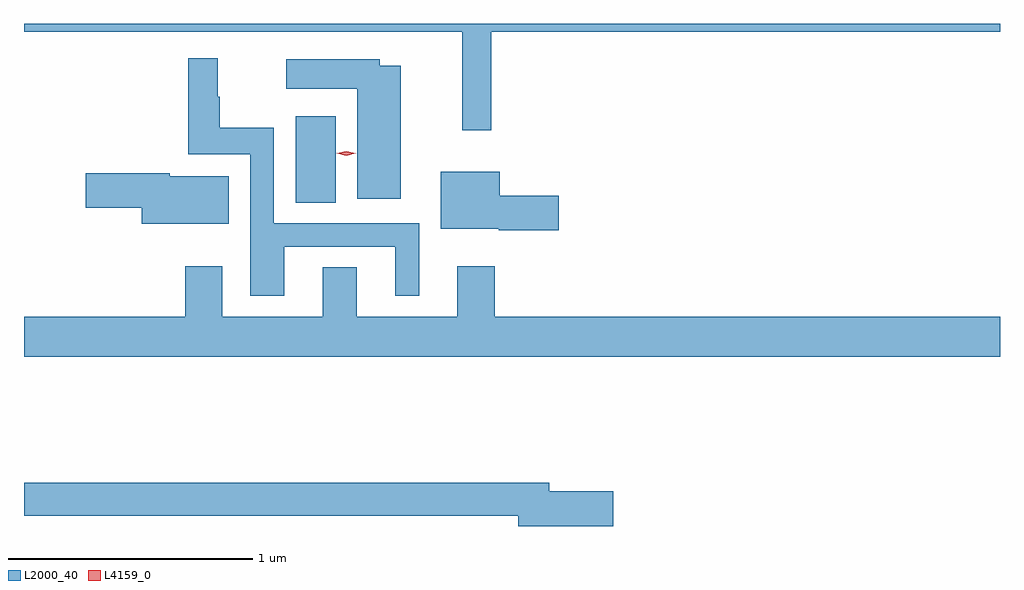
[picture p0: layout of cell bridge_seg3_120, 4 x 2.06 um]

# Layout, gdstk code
import gdstk
lib = gdstk.Library(unit=1e-6, precision=1e-09)
def R(c, l, rs):  # rectangles x0, y0, x1, y1
    for r in rs: c.add(gdstk.rectangle(r[:2], r[2:], *l))
def P(c, l, *ps):  # polygons
    for p in ps: c.add(gdstk.Polygon(p, *l))
L2000_40 = (2000, 40)
L4159_0 = (4159, 0)

bridge_seg3_120 = lib.new_cell('bridge_seg3_120')
R(bridge_seg3_120, L2000_40, [(190.85,748.168,191.014,748.522)])
P(bridge_seg3_120, L2000_40, [(191.651,748.868),(193.737,748.868),(193.737,748.9),(189.737,748.9),(189.737,748.868),(191.533,748.868),(191.533,748.464),(191.651,748.464)],
  [(190.804,747.987),(191.258,747.987),(191.258,747.786),(191.356,747.786),(191.356,748.083),(190.761,748.083),(190.761,748.474),(190.54,748.474),(190.54,748.602),(190.532,748.602),(190.532,748.759),(190.411,748.759),(190.411,748.365),(190.665,748.365),(190.665,747.786),(190.804,747.786)],
  [(191.281,748.729),(191.196,748.729),(191.196,748.756),(190.812,748.756),(190.812,748.634),(191.102,748.634),(191.102,748.184),(191.281,748.184)],
  [(191.929,748.196),(191.686,748.196),(191.686,748.294),(191.444,748.294),(191.444,748.061),(191.682,748.061),(191.682,748.054),(191.929,748.054)],
  [(190.576,748.276),(190.334,748.276),(190.334,748.289),(189.99,748.289),(189.99,748.147),(190.22,748.147),(190.22,748.082),(190.576,748.082)],
  [(193.737,747.7),(191.666,747.7),(191.666,747.907),(191.513,747.907),(191.513,747.7),(191.101,747.7),(191.101,747.902),(190.961,747.902),(190.961,747.7),(190.549,747.7),(190.549,747.907),(190.397,747.907),(190.397,747.7),(189.737,747.7),(189.737,747.536),(193.737,747.536)],
  [(192.151,746.984),(191.89,746.984),(191.89,747.02),(189.737,747.02),(189.737,746.884),(191.762,746.884),(191.762,746.842),(192.151,746.842)])
P(bridge_seg3_120, L4159_0, [(191.058,748.359),(191.018,748.369),(191.018,748.369),(191.018,748.369),(191.058,748.379),(191.097,748.369),(191.097,748.369),(191.097,748.369)])

lib.write_gds('bridge_seg3_120.gds')
